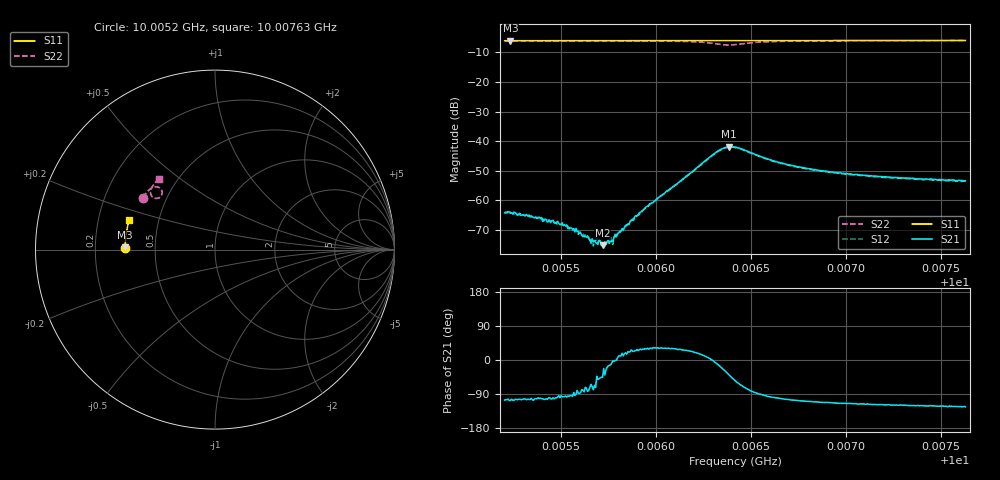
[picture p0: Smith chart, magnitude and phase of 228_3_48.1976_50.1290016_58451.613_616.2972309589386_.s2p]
#  HZ  S  RI  R  50.00
! Rohde & Schwarz Vector Network Analyzer
! Rohde-Schwarz,ZNB20-2Port,1311601062101988,3.16
! Created: UTC 3/20/2024, 11:46:14 AM
! freq[Hz]  re:S11  im:S11  re:S21  im:S21  re:S12  im:S12  re:S22  im:S22
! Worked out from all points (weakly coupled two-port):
!   401 points, 10.0052 GHz to 10.00763 GHz, reference 50 ohm
!   highest |S21| = -41.89 dB at 10.00639 GHz (marker M1); lowest = -75.3 dB at 10.00572 GHz (marker M2)
!   lowest |S11| = -6.0 dB at 10.00523 GHz (marker M3), VSWR 3.00, Z = 16.7 + j0.565 ohm
!   |S11| at or under -10 dB: nowhere
!   |S22| runs from -7.5 to -6.0 dB; largest |S21 - S12| = 0.00047
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1.0005202e10  -0.5 0.0107  -0.000168 -0.000588  -0.000114 -0.000594  -0.4019 0.2898
1.0005232e10  -0.4999 0.0127  -0.000173 -0.000573  -0.000144 -0.000605  -0.4006 0.2917
1.0005384e10  -0.4999 0.0225  -0.000103 -0.000505  -7.61e-05 -0.000482  -0.3945 0.3006
1.0005414e10  -0.4999 0.0245  -0.000115 -0.000462  -6.26e-05 -0.000464  -0.3933 0.3025
1.0005493e10  -0.4998 0.0296  -6.51e-05 -0.000382  -1.15e-05 -0.000379  -0.3898 0.3071
1.0005524e10  -0.4998 0.0315  -3.08e-05 -0.000363  -3.02e-05 -0.000356  -0.3884 0.309
1.000559e10  -0.4997 0.036  9.36e-06 -0.000293  4.04e-05 -0.00026  -0.3852 0.3132
1.0005609e10  -0.4996 0.0372  5.25e-05 -0.000249  3.74e-05 -0.000283  -0.3843 0.3142
1.0005639e10  -0.4994 0.0391  3.08e-05 -0.000247  4.58e-05 -0.000232  -0.3828 0.3159
1.0005663e10  -0.4994 0.0406  7.35e-05 -0.000208  9.07e-05 -0.000196  -0.3813 0.3176
1.0005694e10  -0.4994 0.0427  0.000111 -0.000139  0.000103 -0.000153  -0.38 0.3195
1.0005718e10  -0.4992 0.0443  0.00012 -0.000123  0.000114 -0.000132  -0.3787 0.321
1.0005766e10  -0.499 0.0474  0.000195 -2.93e-05  0.000198 -1.84e-05  -0.3758 0.3241
1.0005876e10  -0.4985 0.0545  0.000419 0.000183  0.000429 0.000214  -0.3691 0.3312
1.0006015e10  -0.4978 0.0635  0.000968 0.000574  0.00091 0.00062  -0.3575 0.3408
1.0006313e10  -0.4949 0.0827  0.00631 -0.000743  0.00619 -0.000389  -0.2975 0.3305
1.0006386e10  -0.4942 0.0868  0.00616 -0.00517  0.00627 -0.00471  -0.3058 0.2924
1.0006416e10  -0.4941 0.0886  0.00462 -0.00642  0.00487 -0.00604  -0.3216 0.2853
1.0006629e10  -0.4925 0.1022  -0.000758 -0.00445  -0.000528 -0.00441  -0.3594 0.3259
1.0006823e10  -0.4903 0.1146  -0.00112 -0.00314  -0.000967 -0.00312  -0.3511 0.3485
1.000723e10  -0.4844 0.1402  -0.00114 -0.00217  -0.00104 -0.00216  -0.3302 0.3757
1.0007631e10  -0.4772 0.1651  -0.00118 -0.00177  -0.00104 -0.0018  -0.3097 0.3957
